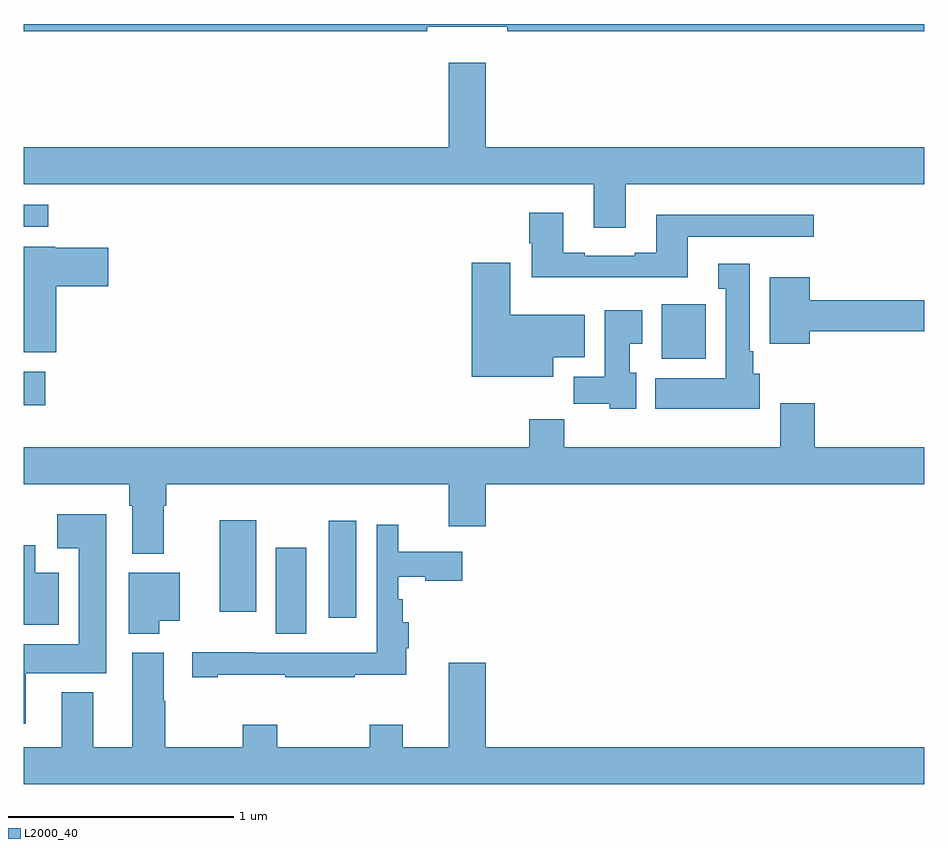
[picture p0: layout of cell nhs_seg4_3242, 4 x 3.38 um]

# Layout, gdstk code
import gdstk
lib = gdstk.Library(unit=1e-6, precision=1e-09)
def R(c, l, rs):  # rectangles x0, y0, x1, y1
    for r in rs: c.add(gdstk.rectangle(r[:2], r[2:], *l))
def P(c, l, *ps):  # polygons
    for p in ps: c.add(gdstk.Polygon(p, *l))
L2000_40 = (2000, 40)

nhs_seg4_3242 = lib.new_cell('nhs_seg4_3242')
R(nhs_seg4_3242, L2000_40, [(284.12,760.192,284.254,760.573), (284.354,760.263,284.476,760.693), (283.871,760.29,284.032,760.696), (283,761.207,283.096,761.356), (285.833,761.414,286.03,761.656), (283,762,283.108,762.096)])
P(nhs_seg4_3242, L2000_40, [(284.792,762.887),(285.148,762.887),(285.148,762.868),(287,762.868),(287,762.9),(283,762.9),(283,762.868),(284.792,762.868)],
  [(285.673,762.188),(287,762.188),(287,762.352),(285.052,762.352),(285.052,762.727),(284.888,762.727),(284.888,762.352),(283,762.352),(283,762.188),(285.533,762.188),(285.533,761.994),(285.673,761.994)],
  [(285.949,761.955),(286.51,761.955),(286.51,762.052),(285.809,762.052),(285.809,761.884),(285.713,761.884),(285.713,761.871),(285.493,761.871),(285.493,761.884),(285.397,761.884),(285.397,762.061),(285.245,762.061),(285.245,761.926),(285.257,761.926),(285.257,761.774),(285.949,761.774)],
  [(283.144,761.735),(283.375,761.735),(283.375,761.905),(283.14,761.905),(283.14,761.911),(283,761.911),(283,761.441),(283.144,761.441)],
  [(285.352,761.42),(285.493,761.42),(285.493,761.608),(285.16,761.608),(285.16,761.839),(284.99,761.839),(284.99,761.333),(285.352,761.333)],
  [(286.27,761.346),(286.24,761.346),(286.24,761.446),(286.225,761.446),(286.225,761.836),(286.085,761.836),(286.085,761.723),(286.118,761.723),(286.118,761.326),(285.806,761.326),(285.806,761.192),(286.27,761.192)],
  [(286.492,761.536),(287,761.536),(287,761.672),(286.492,761.672),(286.492,761.776),(286.313,761.776),(286.313,761.48),(286.492,761.48)],
  [(285.721,761.35),(285.691,761.35),(285.691,761.48),(285.748,761.48),(285.748,761.629),(285.581,761.629),(285.581,761.332),(285.442,761.332),(285.442,761.214),(285.603,761.214),(285.603,761.192),(285.721,761.192)],
  [(286.361,761.215),(286.361,761.02),(285.401,761.02),(285.401,761.144),(285.245,761.144),(285.245,761.02),(283,761.02),(283,760.856),(283.469,760.856),(283.469,760.76),(283.481,760.76),(283.481,760.547),(283.621,760.547),(283.621,760.76),(283.634,760.76),(283.634,760.856),(284.888,760.856),(284.888,760.668),(285.052,760.668),(285.052,760.856),(287,760.856),(287,761.02),(286.514,761.02),(286.514,761.215)],
  [(283.009,760.016),(283.366,760.016),(283.366,760.723),(283.149,760.723),(283.149,760.571),(283.244,760.571),(283.244,760.144),(283,760.144),(283,759.792),(283.009,759.792)],
  [(283.861,760.009),(284.161,760.009),(284.161,759.999),(284.471,759.999),(284.471,760.009),(284.698,760.009),(284.698,760.127),(284.711,760.127),(284.711,760.243),(284.684,760.243),(284.684,760.344),(284.664,760.344),(284.664,760.445),(284.784,760.445),(284.784,760.426),(284.947,760.426),(284.947,760.555),(284.664,760.555),(284.664,760.675),(284.568,760.675),(284.568,760.108),(284.358,760.108),(284.358,760.107),(284.024,760.107),(284.024,760.109),(283.749,760.109),(283.749,759.999),(283.861,759.999)],
  [(283.156,760.462),(283.051,760.462),(283.051,760.585),(283,760.585),(283,760.232),(283.156,760.232)],
  [(283.601,760.25),(283.693,760.25),(283.693,760.462),(283.466,760.462),(283.466,760.192),(283.601,760.192)],
  [(287,759.688),(285.052,759.688),(285.052,760.063),(284.888,760.063),(284.888,759.688),(284.683,759.688),(284.683,759.787),(284.536,759.787),(284.536,759.688),(284.127,759.688),(284.127,759.787),(283.972,759.787),(283.972,759.688),(283.629,759.688),(283.629,759.893),(283.621,759.893),(283.621,760.107),(283.481,760.107),(283.481,759.688),(283.309,759.688),(283.309,759.931),(283.169,759.931),(283.169,759.688),(283,759.688),(283,759.524),(287,759.524)])

lib.write_gds('nhs_seg4_3242.gds')
